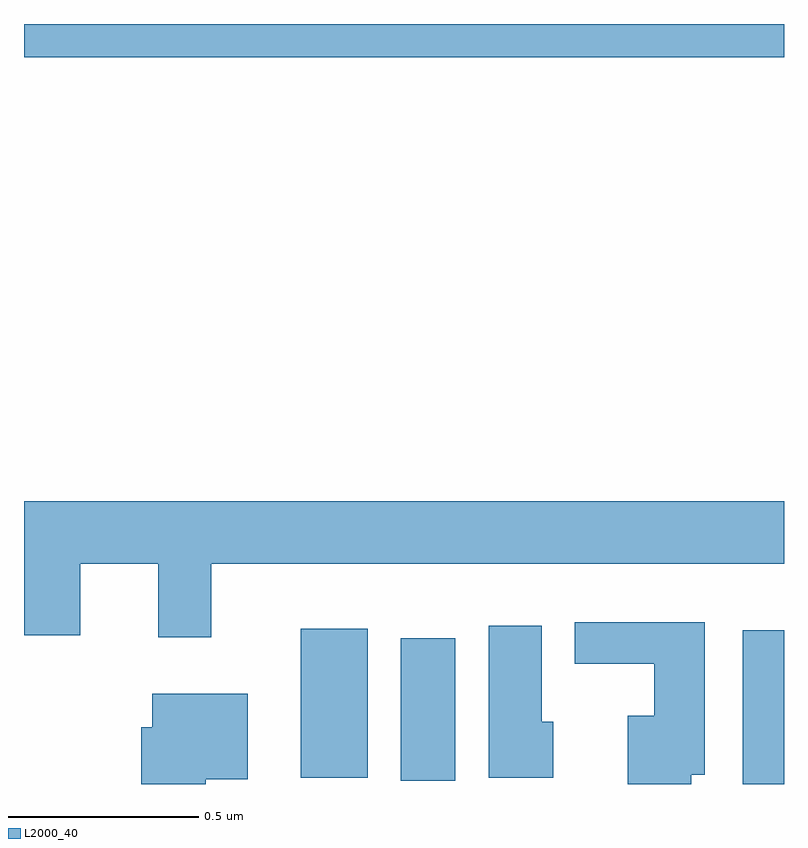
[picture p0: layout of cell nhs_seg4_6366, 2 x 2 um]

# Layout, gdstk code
import gdstk
lib = gdstk.Library(unit=1e-6, precision=1e-09)
def R(c, l, rs):  # rectangles x0, y0, x1, y1
    for r in rs: c.add(gdstk.rectangle(r[:2], r[2:], *l))
def P(c, l, *ps):  # polygons
    for p in ps: c.add(gdstk.Polygon(p, *l))
L2000_40 = (2000, 40)

nhs_seg4_6366 = lib.new_cell('nhs_seg4_6366')
R(nhs_seg4_6366, L2000_40, [(190.892,802.9,191,803.305), (189.992,802.908,190.135,803.284), (189.728,802.916,189.904,803.308), (189,804.812,191,804.9)])
P(nhs_seg4_6366, L2000_40, [(189.493,803.48),(191,803.48),(191,803.644),(189,803.644),(189,803.292),(189.148,803.292),(189.148,803.48),(189.353,803.48),(189.353,803.286),(189.493,803.286)],
  [(190.756,802.925),(190.792,802.925),(190.792,803.326),(190.449,803.326),(190.449,803.217),(190.658,803.217),(190.658,803.08),(190.589,803.08),(190.589,802.9),(190.756,802.9)],
  [(190.393,803.064),(190.363,803.064),(190.363,803.317),(190.223,803.317),(190.223,802.916),(190.393,802.916)],
  [(189.478,802.913),(189.589,802.913),(189.589,803.137),(189.338,803.137),(189.338,803.049),(189.308,803.049),(189.308,802.9),(189.478,802.9)])

lib.write_gds('nhs_seg4_6366.gds')
